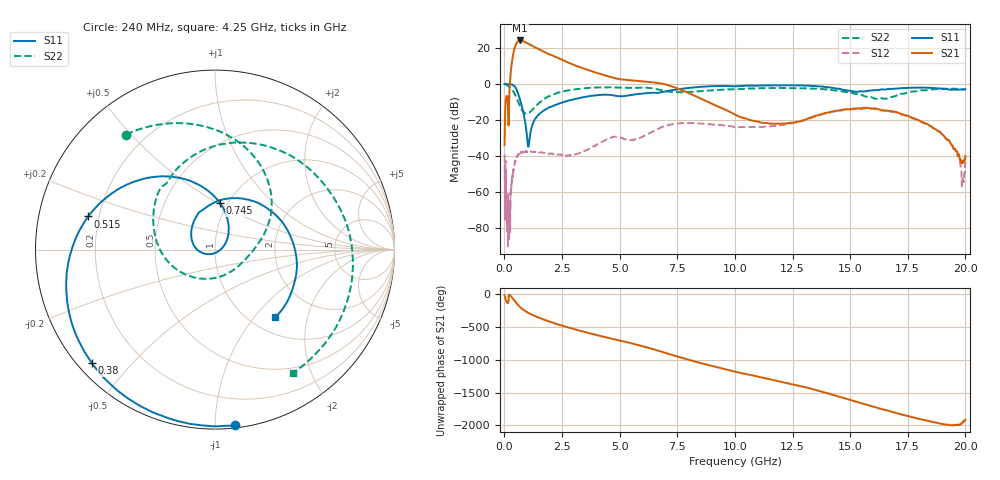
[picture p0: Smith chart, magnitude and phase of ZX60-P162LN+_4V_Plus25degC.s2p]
!Mini-Circuits Laboratory
!S-Parameters
!Model: ZX60-P162LN+
!Run / Lot / Date Code: E114703 /  / NA
!Fixture:
!Network Analyzer: ;  Serial number: 71013
!Date: 12/21/2011 at 12:41:04 PM
!S/N: Unit3
!Tested with:
# Hz  S  dB  R  50
!Frequency  S11 dB  S11 Deg  S21 dB  S21 Deg  S12 dB  S12 Deg  S22 dB  S22 Deg
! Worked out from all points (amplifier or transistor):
!   959 points, 10 MHz to 20 GHz, reference 50 ohm
!   highest |S21| = 24.2 dB at 680 MHz (marker M1)
!   |S21| within 3 dB of that: 476.1 MHz to 1.215 GHz (739.2 MHz wide, 87.4 % of centre)
!   unconditionally stable (mu >= 1): 37.9 MHz to 45.14 MHz; 64.91 MHz to 89.95 MHz; 90.05 MHz to end of sweep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
!   at 805 MHz: K = 2.41, MAG = 24.1 dB, |S12| = -37.6 dB
!   at 8.025 GHz: K = 2.28, MAG = 1.9 dB, |S12| = -21.6 dB
!   at 20 GHz: K = 1758.43, MAG = -33.9 dB, |S12| = -43.1 dB
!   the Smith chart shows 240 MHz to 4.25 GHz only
!   S11 on the Smith chart (normalised r, x): 240 MHz: 0.02, -1.12; 380 MHz: 0.04, -0.39; 515 MHz: 0.16, +0.13; 745 MHz: 0.92, +0.51; 4.25 GHz: 1.28, -1.29
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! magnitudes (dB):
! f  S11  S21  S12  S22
! 10 MHz  0.0  -34.0  -39.1  -0.1
! 35 MHz  0.0  -14.8  -69.5  -0.1
! 105 MHz  0.0  -6.6  -78.1  -0.5
! 180 MHz  -0.1  -23.0  -83.1  -1.2
! 240 MHz  -0.1  0.7  -69.4  -1.8
! 285 MHz  -0.2  7.6  -59.0  -2.4
! 380 MHz  -0.6  16.3  -48.9  -3.9
! 515 MHz  -2.7  22.4  -41.2  -7.3
! 680 MHz  -8.6  24.2  -38.4  -12.5
! 745 MHz  -11.6  24.1  -38.0  -14.1
! 1 GHz  -31.5  22.6  -37.6  -16.4
! 1.6 GHz  -15.7  18.7  -37.9  -9.5
! 3.35 GHz  -7.5  9.0  -37.8  -2.5
! 4.25 GHz  -5.9  5.2  -31.9  -1.8
! 6.675 GHz  -4.9  0.5  -24.8  -3.0
! 10.03 GHz  -1.2  -17.1  -23.9  -2.9
! 13.35 GHz  -1.1  -18.3  -18.7  -2.5
! 16.68 GHz  -2.7  -14.9  -15.2  -7.5
! 18.9 GHz  -2.5  -26.5  -26.4  -2.7
! 19.65 GHz  -3.1  -37.8  -38.4  -2.8
! 19.88 GHz  -3.0  -42.6  -52.5  -3.0
! 20 GHz  -2.9  -39.9  -43.1  -3.2
